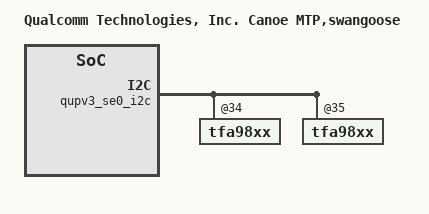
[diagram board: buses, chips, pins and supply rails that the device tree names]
/dts-v1/;
/plugin/;
#include <dt-bindings/oplus/hw-id.h>
#include "../canoe-audio-mtp.dts"

#include "canoe-audio-overlay-common.dtsi"
#include "swangoose-25001-audio-canoe-overlay.dtsi"

/ {
	model = "Qualcomm Technologies, Inc. Canoe MTP,swangoose";

	oplus,project-id = <25001 25002 25201>;
	oplus,hw-id = <OPLUS_EVT1 OPLUS_EVT2>;
};

&oplus_audio_drv {
	oplus,emi-gpio = <&tlmm 10 0x00>;
};

&qupv3_se0_i2c {
	tfa98xx@34 {
		tfa_fw_name = "tfa98xx_evt.cnt";
	};
	tfa98xx@35 {
		tfa_fw_name = "tfa98xx_evt.cnt";
	};
};

